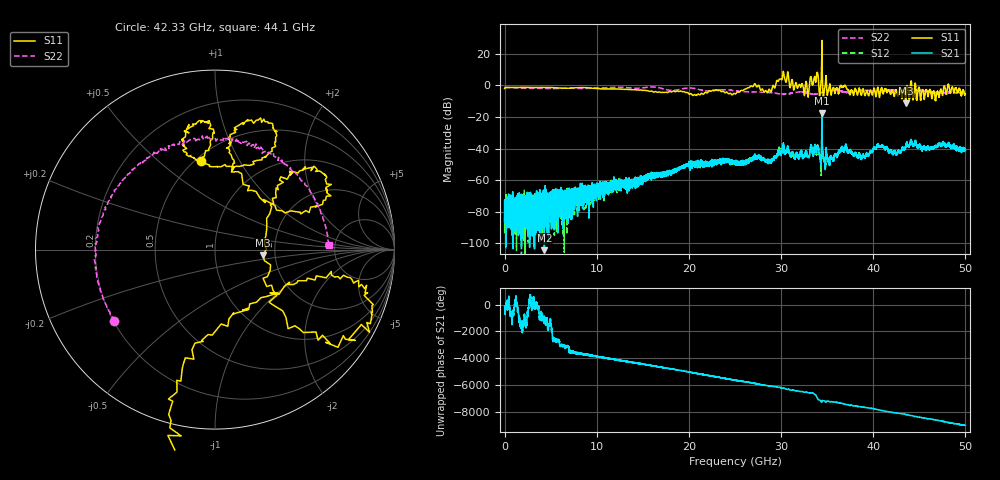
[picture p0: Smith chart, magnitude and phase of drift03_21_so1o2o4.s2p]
!Created with skrf (http://scikit-rf.org).
# Hz S RI R 50.0
!freq ReS11 ImS11 ReS21 ImS21 ReS12 ImS12 ReS22 ImS22
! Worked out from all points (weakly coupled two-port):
!   10000 points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, 5.3 MHz to 50 GHz, reference 50 ohm
!   highest |S21| = -17.70 dB at 34.43 GHz (marker M1); lowest = -104.4 dB at 4.32 GHz (marker M2)
!   lowest |S11| = -11.4 dB at 43.53 GHz (marker M3), VSWR 1.73, Z = 86 - j5.72 ohm
!   |S11| at or under -10 dB: 43.49681 GHz to 43.53944 GHz (42.63 MHz wide, 0.098 % of centre); 43.55372 GHz to 43.5556 GHz (1.879 MHz wide, 0.00432 % of centre)
!   |S22| runs from -5.8 to -1.1 dB; largest |S21 - S12| = 0.025
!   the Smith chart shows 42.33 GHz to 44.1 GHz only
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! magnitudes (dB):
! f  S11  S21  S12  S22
! 5.3 MHz  -2.1  -72.8  -83.5  -1.3
! 4.32 GHz  -1.4  -104.4  -82.5  -2.0
! 8.34 GHz  -1.5  -67.2  -73.7  -2.1
! 16.67 GHz  -4.4  -56.0  -56.9  -1.5
! 20.27 GHz  -5.5  -50.0  -48.8  -1.8
! 25.01 GHz  -5.5  -49.8  -48.9  -3.5
! 27.02 GHz  -0.3  -46.1  -45.7  -4.3
! 28.72 GHz  -2.5  -48.8  -47.9  -4.5
! 30.14 GHz  4.4  -39.6  -41.4  -5.7
! 32.74 GHz  2.0  -41.8  -42.1  -4.6
! 33.34 GHz  2.6  -39.3  -40.5  -5.6
! 33.82 GHz  3.9  -42.2  -42.1  -5.7
! 34.43 GHz  28.3  -17.7  -19.1  -4.6
! 35.37 GHz  -3.0  -45.8  -44.9  -3.3
! 36.83 GHz  -0.6  -41.8  -41.8  -4.2
! 38.86 GHz  -2.8  -44.2  -43.9  -3.2
! 40.58 GHz  -3.3  -37.8  -38.1  -4.0
! 41.67 GHz  -3.1  -42.0  -42.4  -3.3
! 43.53 GHz  -11.4  -38.7  -38.3  -4.3
! 46.94 GHz  -4.0  -37.9  -39.2  -4.8
! 48.32 GHz  -4.5  -37.9  -38.2  -4.6
! 50 GHz  -5.3  -41.1  -40.8  -4.5
